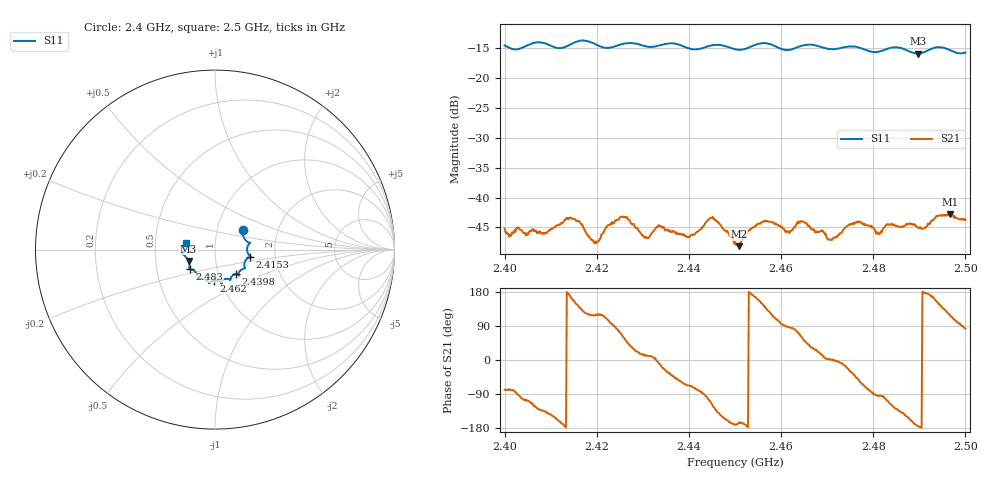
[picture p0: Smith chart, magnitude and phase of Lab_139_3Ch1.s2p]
# Hz S RI R 50
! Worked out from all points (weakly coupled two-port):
!   601 points, 2.4 GHz to 2.5 GHz, reference 50 ohm
!   highest |S21| = -42.83 dB at 2.4967 GHz (marker M1); lowest = -48.1 dB at 2.4508 GHz (marker M2)
!   lowest |S11| = -15.9 dB at 2.4897 GHz (marker M3), VSWR 1.38, Z = 36.9 - j4.82 ohm
!   |S11| at or under -10 dB: start of sweep to end of sweep
!   S12 and S22 are empty: the file has one direction only
!   S11 on the Smith chart (normalised r, x): 2.4 GHz: 1.33, +0.29; 2.4153 GHz: 1.48, -0.12; 2.4398 GHz: 1.21, -0.34; 2.462 GHz: 0.93, -0.33; 2.483 GHz: 0.74, -0.17; 2.5 GHz: 0.72, +0.06
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2.4e9  0.155 0.1065  0.00109 -0.0054  0 0  0 0
2.415333e9  0.1966 -0.0385  -0.00579 0.00314  0 0  0 0
2.416667e9  0.2024 -0.0425  -0.00414 0.00427  0 0  0 0
2.419833e9  0.1862 -0.0453  -0.00216 0.00372  0 0  0 0
2.4255e9  0.166 -0.0988  0.00293 0.0063  0 0  0 0
2.430667e9  0.1462 -0.1134  0.00458 0.00104  0 0  0 0
2.433333e9  0.1309 -0.1335  0.00576 -0.000692  0 0  0 0
2.439833e9  0.1153 -0.1363  0.00182 -0.00435  0 0  0 0
2.445e9  0.0847 -0.1686  -0.00304 -0.00602  0 0  0 0
2.45e9  0.0647 -0.1626  -0.00421 -0.000638  0 0  0 0
2.450833e9  0.0555 -0.1638  -0.00379 -0.000965  0 0  0 0
2.456333e9  0.0387 -0.1931  -0.00498 0.00402  0 0  0 0
2.462e9  -0.00505 -0.1733  0.000417 0.00525  0 0  0 0
2.466667e9  -0.0342 -0.1876  0.00457 0.0029  0 0  0 0
2.470667e9  -0.0549 -0.1664  0.00445 0.000113  0 0  0 0
2.4765e9  -0.0951 -0.1557  0.00419 -0.00451  0 0  0 0
2.481e9  -0.119 -0.1158  -0.000402 -0.00495  0 0  0 0
2.483e9  -0.1375 -0.1097  -0.00173 -0.00572  0 0  0 0
2.483333e9  -0.14 -0.1095  -0.00218 -0.00556  0 0  0 0
2.489667e9  -0.1475 -0.0636  -0.00556 -0.000561  0 0  0 0
2.496667e9  -0.1719 -0.00997  -0.00339 0.00638  0 0  0 0
2.5e9  -0.1596 0.0393  0.000808 0.00642  0 0  0 0
